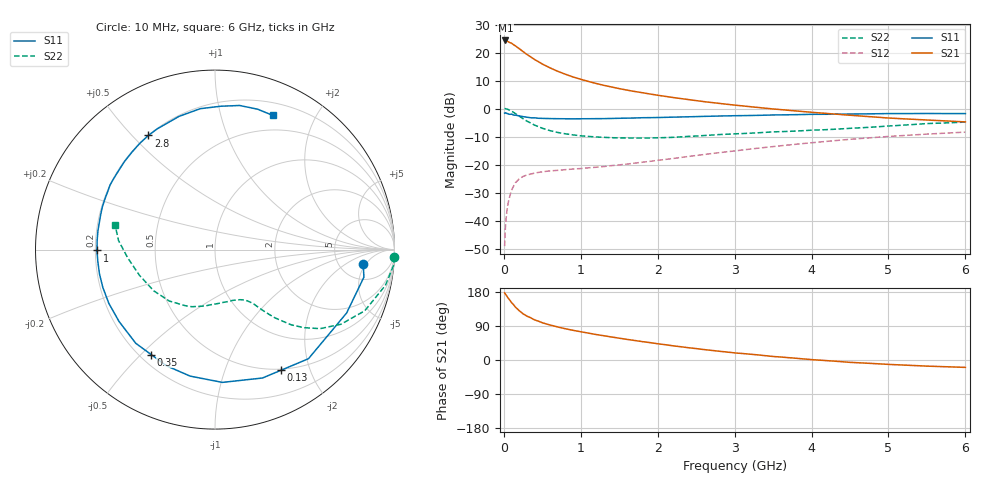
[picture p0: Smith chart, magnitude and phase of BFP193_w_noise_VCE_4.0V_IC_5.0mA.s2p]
! (c) 2017  Infineon Technologies AG, Munich
! Infineon Technologies  Discrete & RF Semiconductors
! BFP193
! VCE =  4.0 V,  IC =  5.0 mA
! Common Emitter S-Parameters:  Jan 2017
# GHz  S  MA  R  50
!  f  S11  S21  S12  S22
! GHz  MAG  ANG  MAG  ANG  MAG  ANG  MAG  ANG
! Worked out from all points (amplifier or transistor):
!   77 points, 10 MHz to 6 GHz, reference 50 ohm
!   highest |S21| = 24.3 dB at 20 MHz (marker M1)
!   |S21| within 3 dB of that: start of sweep to 203.4 MHz
!   unconditionally stable (mu >= 1): 1.397 GHz to 2.664 GHz
!   at 130 MHz: K = 0.14, MSG = 25.1 dB, |S12| = -27.5 dB
!   at 2.2 GHz: K = 1.07, MAG = 9.3 dB, |S12| = -17.8 dB
!   at 6 GHz: K = 0.87, MSG = 1.8 dB, |S12| = -8.4 dB
!   lowest NFmin = 0.92 dB at 450 MHz
!   S11 on the Smith chart (normalised r, x): 10 MHz: 8.56, -4.29; 130 MHz: 0.48, -1.58; 350 MHz: 0.24, -0.54; 1 GHz: 0.21, -0.00; 2.8 GHz: 0.20, +0.56; 6 GHz: 0.33, +1.47
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0.01  0.8296 -5.4  16.17 177.1  0.0035 87.0  1 -2.4
0.02  0.8437 -10.5  16.43 174.1  0.0075 89.6  0.9987 -5.0
0.05  0.814 -25.7  15.8 165.1  0.0186 77.4  0.97 -11.9
0.1  0.8004 -49.4  14.69 151.6  0.0348 66.5  0.9014 -22.2
0.13  0.7661 -61.4  13.7 144.8  0.0422 59.6  0.8473 -27.1
0.15  0.7628 -69.7  13.16 139.7  0.0474 56.3  0.815 -30.7
0.2  0.741 -86.8  11.73 130.1  0.0555 50.0  0.7333 -36.9
0.25  0.7184 -101.1  10.41 121.9  0.0615 44.1  0.6591 -41.3
0.3  0.7016 -112.7  9.246 115.8  0.0653 40.5  0.597 -44.6
0.35  0.6845 -121.3  8.346 111.3  0.0678 38.1  0.5513 -46.5
0.4  0.6836 -130.2  7.51 105.8  0.0705 35.8  0.5063 -48.7
0.45  0.6715 -136.6  6.86 102.4  0.0725 34.5  0.4759 -49.9
0.6  0.663 -153.2  5.333 92.3  0.0772 32.0  0.4039 -53.0
1  0.6578 -179.6  3.331 74.5  0.085 33.8  0.3265 -59.4
1.1  0.6586 175.5  3.045 70.9  0.0876 34.5  0.3187 -61.4
1.5  0.6711 159.3  2.271 57.6  0.0988 39.2  0.2992 -71.4
2.1  0.6969 138.9  1.651 40.3  0.1237 44.3  0.3034 -90.2
2.8  0.7365 120.3  1.237 23.1  0.1633 45.2  0.3437 -112.2
3.1  0.7483 113.5  1.117 17.1  0.1822 44.1  0.3581 -120.9
4.1  0.7901 94.3  0.838 -0.3  0.2527 37.0  0.4156 -149.3
5.1  0.8141 78.9  0.667 -12.5  0.3241 25.8  0.4973 -176.9
6  0.814 66.8  0.578 -19.5  0.3802 14.7  0.574 166.1
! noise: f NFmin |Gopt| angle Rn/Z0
0.45  0.92  0.28  104  0.1
0.9  1.03  0.39  150  0.07
1.9  1.97  0.61  -151  0.13
2.4  2.42  0.67  -131  0.35
